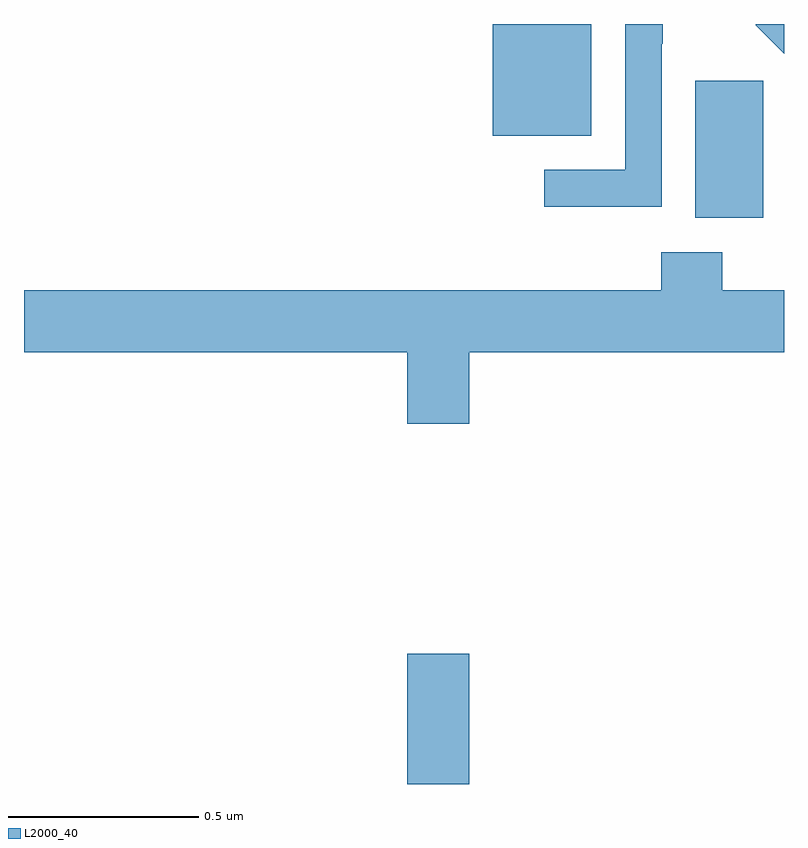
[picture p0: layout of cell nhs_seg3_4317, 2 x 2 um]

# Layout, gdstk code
import gdstk
lib = gdstk.Library(unit=1e-6, precision=1e-09)
def R(c, l, rs):  # rectangles x0, y0, x1, y1
    for r in rs: c.add(gdstk.rectangle(r[:2], r[2:], *l))
def P(c, l, *ps):  # polygons
    for p in ps: c.add(gdstk.Polygon(p, *l))
L2000_40 = (2000, 40)

nhs_seg3_4317 = lib.new_cell('nhs_seg3_4317')
R(nhs_seg3_4317, L2000_40, [(165.008,746.4,165.172,746.743), (165.767,747.89,165.946,748.251), (165.233,748.106,165.493,748.4)])
P(nhs_seg3_4317, L2000_40, [(165.678,748.348),(165.681,748.348),(165.681,748.4),(165.582,748.4),(165.582,748.017),(165.369,748.017),(165.369,747.919),(165.678,747.919)],
  [(166,748.4),(165.925,748.4),(165.925,748.397),(166,748.322)],
  [(165.172,747.536),(166,747.536),(166,747.7),(165.837,747.7),(165.837,747.799),(165.677,747.799),(165.677,747.7),(164,747.7),(164,747.536),(165.008,747.536),(165.008,747.348),(165.172,747.348)])

lib.write_gds('nhs_seg3_4317.gds')
